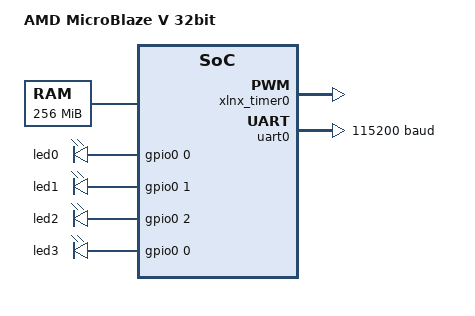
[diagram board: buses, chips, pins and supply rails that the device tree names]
// SPDX-License-Identifier: GPL-2.0
/*
 * dts file for AMD MicroBlaze V
 *
 * (C) Copyright 2024, Advanced Micro Devices, Inc.
 *
 * Michal Simek <michal.simek@amd.com>
 */

/dts-v1/;

#include <zephyr/dt-bindings/gpio/gpio.h>
#include <mem.h>
#include <zephyr/dt-bindings/input/input-event-codes.h>


/ {
	#address-cells = <1>;
	#size-cells = <1>;
	model = "AMD MicroBlaze V 32bit";
	compatible = "qemu,mbv", "amd,mbv";

	cpus: cpus {
		#address-cells = <1>;
		#size-cells = <0>;
		timebase-frequency = <100000000>;
		cpu_0: cpu@0 {
			compatible = "amd,mbv32", "riscv";
			device_type = "cpu";
			reg = <0>;
			riscv,isa = "rv32imac_zicsr_zifencei";
			i-cache-size = <32768>;
			d-cache-size = <32768>;
			clock-frequency = <100000000>;
			cpu0_intc: interrupt-controller {
				compatible = "riscv,cpu-intc";
				interrupt-controller;
				#interrupt-cells = <1>;
			};
		};
	};

	aliases {
		serial0 = &uart0;
		led0 = &led0;
		led1 = &led1;
		led2 = &led2;
		led3 = &led3;
	};

	chosen {
		bootargs = "";
		stdout-path = "serial0:115200n8";
		zephyr,console = &uart0;
		zephyr,shell-uart = &uart0;
		zephyr,sram = &ram0;
	};

	ram0: memory@10000000 {
		device_type = "memory";
		compatible = "mmio-sram";
		reg = <0x10000000 0x10000000>;
	};

clk100: clock {
		compatible = "fixed-clock";
		#clock-cells = <0>;
		clock-frequency = <100000000>;
	};

	axi: soc {
		#address-cells = <1>;
		#size-cells = <1>;
		compatible = "simple-bus";
		ranges;
		bootph-all;

		axi_intc: interrupt-controller@41200000 {
			compatible = "xlnx,xps-intc-1.00.a";
			reg = <0x41200000 0x1000>;
			interrupt-controller;
			interrupt-parent = <&cpu0_intc>;
			#interrupt-cells = <2>;
			interrupts-extended = <&cpu0_intc 11>;
			xlnx,kind-of-intr = <0x0>;
			xlnx,num-intr-inputs = <1>;
		};

		xlnx_timer0: timer@41c00000 {
			compatible = "amd,xps-timer-1.00.a";
			reg = <0x41c00000 0x1000>;
			interrupt-parent = <&axi_intc>;
			interrupts = <0 2>;
			xlnx,one-timer-only = <0>;
			clocks = <&clk100>;
		};

		uart0: serial@e0001000 {
			compatible = "xlnx,xuartps";
			reg = <0xe0001000 0x1000>;
			#interrupt-parent = <&axi_intc>;
			#interrupts = <1 2>;
			clock-frequency = <100000000> ;
			current-speed = <115200>;
		};
		
		gpio0: gpio@40000000 {
			compatible = "xlnx,xps-gpio-1.00.a";
			reg = <0x40000000 0x1000>;
			gpio-controller;
			#gpio-cells = <2>;
			xlnx,all-inputs = <0x0>;
			xlnx,all-outputs = <0x1>;
			xlnx,dout-default = <0x0>;
			xlnx,gpio-width = <0x4>;
			xlnx,is-dual = <0x0>;
			xlnx,tri-default = <0x0>;
		};
	};
	leds {
		compatible = "gpio-leds";
		led0: led_0 {
			gpios = <&gpio0 0 GPIO_ACTIVE_HIGH>;
			label = "led0";
		};
		led1: led_1 {
			gpios = <&gpio0 1 GPIO_ACTIVE_HIGH>;
			label = "led1";
		};
		led2: led_2 {
			gpios = <&gpio0 2 GPIO_ACTIVE_HIGH>;
			label = "led2";
		};
		led3: led_3 {
			gpios = <&gpio0 0 GPIO_ACTIVE_HIGH>;
			label = "led3";
		};
	};
};
